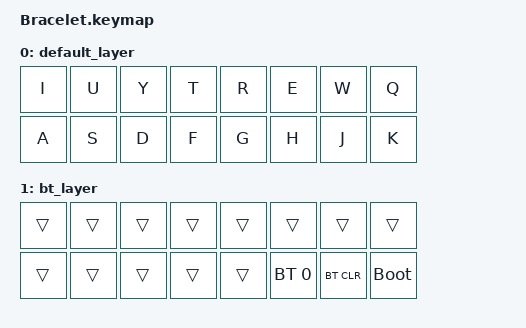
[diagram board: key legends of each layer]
#include <behaviors.dtsi>
#include <dt-bindings/zmk/keys.h>
#include <dt-bindings/zmk/bt.h>

/ {
    keymap {
        compatible = "zmk,keymap";

        default_layer {
            bindings = <
                &kp I   &kp U   &kp Y   &kp T   &kp R   &kp E   &kp W   &kp Q
                &kp A   &kp S   &kp D   &kp F   &kp G   &kp H   &kp J   &kp K
            >;

        };

        bt_layer {
            bindings = <
                &trans   &trans   &trans   &trans   &trans   &trans   &trans   &trans
                &trans   &trans   &trans   &trans   &trans   &bt BT_SEL 0   &bt BT_CLR   &bootloader
            >;
        };
    };
};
